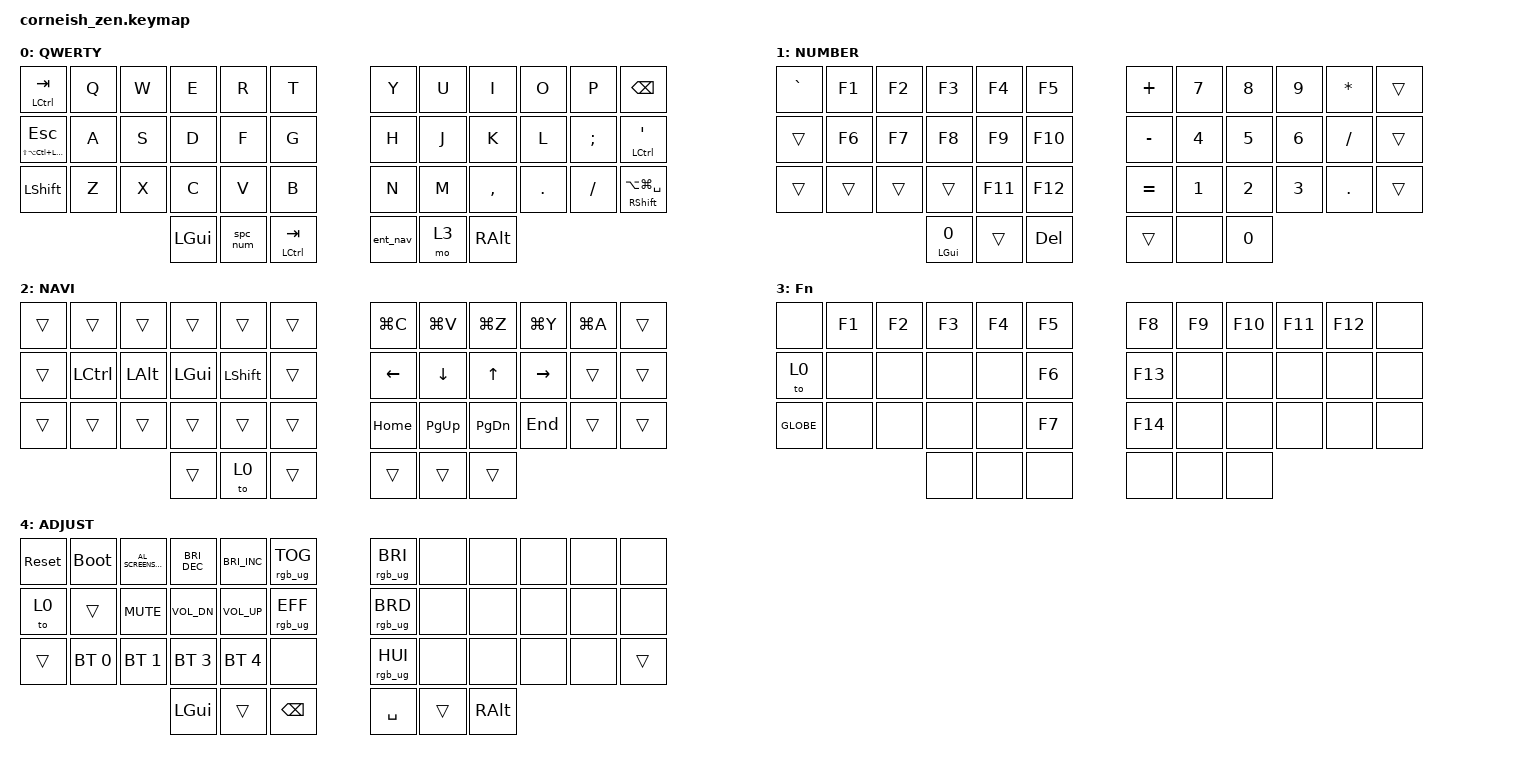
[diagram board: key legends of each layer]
/*
 * Copyright (c) 2020 The ZMK Contributors
 *
 * SPDX-License-Identifier: MIT
 */

#include <behaviors.dtsi>
#include <dt-bindings/zmk/bt.h>
#include <dt-bindings/zmk/keys.h>
#include <dt-bindings/zmk/rgb.h>

/ {
    chosen {
        zmk,matrix_transform = &default_transform;

        // zmk,matrix_transform = &five_column_transform;
    };
};

/ {
    combos {
        compatible = "zmk,combos";

        combo_grave {
            bindings = <&kp GRAVE>;
            key-positions = <15 16>;
            layers = <0>;
        };

        combo_brace_left {
            bindings = <&kp LEFT_BRACKET>;
            key-positions = <19 20>;
            layers = <0>;
        };

        combo_brace_right {
            bindings = <&kp RIGHT_BRACKET>;
            key-positions = <20 21>;
            layers = <0>;
        };

        combo_left_bracket {
            bindings = <&kp LEFT_PARENTHESIS>;
            key-positions = <7 8>;
            layers = <0>;
        };

        combo_right_bracket {
            bindings = <&kp RIGHT_PARENTHESIS>;
            key-positions = <8 9>;
            layers = <0>;
        };

        como_lt {
            bindings = <&kp LT>;
            key-positions = <31 32>;
            layers = <0>;
        };

        combo_gt {
            bindings = <&kp GT>;
            key-positions = <32 33>;
            layers = <0>;
        };

        combo_equal {
            bindings = <&kp EQUAL>;
            key-positions = <30 31>;
            layers = <0>;
        };

        combo_plus {
            bindings = <&kp PLUS>;
            key-positions = <6 7>;
            layers = <0>;
        };

        combo_minus {
            bindings = <&kp MINUS>;
            key-positions = <18 19>;
            layers = <0>;
        };

        bootloader {
            bindings = <&bootloader>;
            key-positions = <25 6 3 34 30>;
            layers = <1>;
        };

        back_slash {
            bindings = <&kp BACKSLASH>;
            key-positions = <21 22>;
        };
    };

    behaviors {
        td0: td0 {
            compatible = "zmk,behavior-tap-dance";
            label = "TD0";
            #binding-cells = <0>;
            bindings = <&kp LEFT_SHIFT>, <&kp CAPSLOCK>;
        };

        mtt: mtt {
            compatible = "zmk,behavior-hold-tap";
            label = "MTT";
            bindings = <&kp>, <&kp>;

            #binding-cells = <2>;
            tapping-term-ms = <500>;
            flavor = "tap-preferred";
        };

        ltt: ltt {
            compatible = "zmk,behavior-hold-tap";
            label = "LTT";
            bindings = <&mo>, <&kp>;

            #binding-cells = <2>;
            flavor = "tap-preferred";
            tapping-term-ms = <200>;
        };

        HYPER_ESCAPE: HYPER_ESCAPE {
            compatible = "zmk,behavior-tap-dance";
            label = "HYPER_ESCAPE";
            #binding-cells = <0>;
            bindings = <&mt LS(LA(LC(LEFT_GUI))) ESCAPE>, <&kp LEFT_CONTROL>;
        };

        spc_num: spc_num {
            compatible = "zmk,behavior-hold-tap";
            label = "SPC_NUM";
            bindings = <&mo 1>, <&kp SPACE>;
            flavor = "tap-preferred";
            tapping-term-ms = <200>;
        };

        ent_nav: ent_nav {
            compatible = "zmk,behavior-hold-tap";
            label = "ENT_NAV";
            bindings = <&mo 2>, <&kp ENTER>;
            flavor = "tap-preferred";
            tapping-term-ms = <200>;
        };
    };

    keymap {
        compatible = "zmk,keymap";

        base {
            // -----------------------------------------------------------------------------------------
            // |  TAB |  Q  |  W  |  E  |  R  |  T  |   |  Y  |  U   |  I  |  O  |  P  | BKSP |
            // | CTRL |  A  |  S  |  D  |  F  |  G  |   |  H  |  J   |  K  |  L  |  ;  |  '   |
            // | SHFT |  Z  |  X  |  C  |  V  |  B  |   |  N  |  M   |  ,  |  .  |  /  | ESC  |
            //                    | GUI | LWR | SPC |   | ENT | RSE  | ALT |

            bindings = <
&mt LEFT_CONTROL TAB             &kp Q  &kp W  &kp E     &kp R  &kp T        &kp Y      &kp U  &kp I      &kp O    &kp P     &kp BACKSPACE
&mt LS(LA(LC(LEFT_GUI))) ESCAPE  &kp A  &kp S  &kp D     &kp F  &kp G        &kp H      &kp J  &kp K      &kp L    &kp SEMI  &mt LEFT_CONTROL SQT
&kp LEFT_SHIFT                   &kp Z  &kp X  &kp C     &kp V  &kp B        &kp N      &kp M  &kp COMMA  &kp DOT  &kp FSLH  &mt RIGHT_SHIFT LA(LG(SPACE))
                                               &kp LGUI  &spc_num  &mt LEFT_CONTROL TAB    &ent_nav  &mo 3  &kp RALT
            >;

            label = "QWERTY";
        };

        num {
            bindings = <
&kp GRAVE  &kp F1  &kp F2  &kp F3           &kp F4   &kp F5     &kp PLUS   &kp N7        &kp N8        &kp N9        &kp STAR    &trans
&trans     &kp F6  &kp F7  &kp F8           &kp F9   &kp F10    &kp MINUS  &kp NUMBER_4  &kp N5        &kp NUMBER_6  &kp SLASH   &trans
&trans     &trans  &trans  &trans           &kp F11  &kp F12    &kp EQUAL  &kp NUMBER_1  &kp NUMBER_2  &kp NUMBER_3  &kp PERIOD  &trans
                           &mt LEFT_GUI N0  &trans   &kp DEL    &trans     &none         &kp N0
            >;

            label = "NUMBER";
        };

        nav {
            bindings = <
&trans  &trans     &trans        &trans        &trans          &trans    &kp LG(C)    &kp LG(V)    &kp LG(Z)      &kp LG(Y)  &kp LG(A)  &trans
&trans  &kp LCTRL  &kp LEFT_ALT  &kp LEFT_GUI  &kp LEFT_SHIFT  &trans    &kp LEFT     &kp DOWN     &kp UP         &kp RIGHT  &trans     &trans
&trans  &trans     &trans        &trans        &trans          &trans    &kp HOME     &kp PAGE_UP  &kp PAGE_DOWN  &kp END    &trans     &trans
                                 &trans        &to 0           &trans    &trans       &trans       &trans
            >;

            label = "NAVI";
        };

        FUNCION {
            bindings = <
&none      &kp F1  &kp F2  &kp F3  &kp F4  &kp F5    &kp F8   &kp F9  &kp F10  &kp F11  &kp F12  &none
&to 0      &none   &none   &none   &none   &kp F6    &kp F13  &none   &none    &none    &none    &none
&kp GLOBE  &none   &none   &none   &none   &kp F7    &kp F14  &none   &none    &none    &none    &none
                           &none   &none   &none     &none    &none   &none
            >;

            label = "Fn";
        };

        adjust {
            bindings = <
&sys_reset  &bootloader   &kp C_AL_SCREENSAVER  &kp C_BRIGHTNESS_DEC  &kp C_BRIGHTNESS_INC  &rgb_ug RGB_TOG    &rgb_ug RGB_BRI  &none   &none          &none  &none  &none
&to 0       &trans        &kp C_MUTE            &kp C_VOL_DN          &kp C_VOL_UP          &rgb_ug RGB_EFF    &rgb_ug RGB_BRD  &none   &none          &none  &none  &none
&trans      &bt BT_SEL 0  &bt BT_SEL 1          &bt BT_SEL 3          &bt BT_SEL 4          &none              &rgb_ug RGB_HUI  &none   &none          &none  &none  &trans
                                                &kp LEFT_GUI          &trans                &kp BACKSPACE      &kp SPACE        &trans  &kp RIGHT_ALT
            >;

            label = "ADJUST";
        };
    };
};
